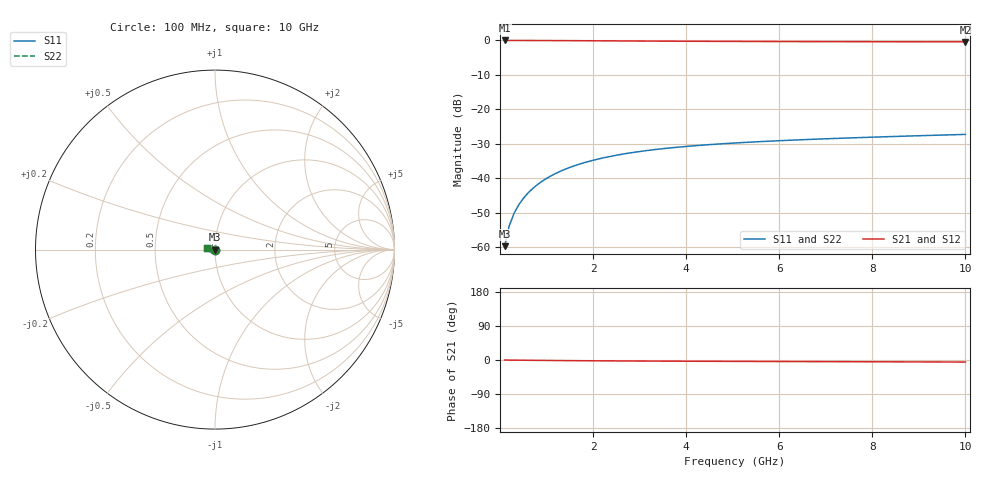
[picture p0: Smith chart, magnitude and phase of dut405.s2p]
! Touchstone file exported from HFSS 2024.1.0
!  File:  C:/UserFiles/LocalFiles/RDL_TSV_Batchsim/temp_TSV1_405_1779691958.aedt
!  Generated:  03:00:02 PM May 25, 2026
!  Design:  TSV1
!  Project:  temp_TSV1_405_1779691958
!  Setup:  Setup1
!  Solution:  Sweep
! Variables:
!  dtsv = 8.49um
!  hbump = 3um
!  htsv = 83.5um
!  lrdl = 252.1521522um
!  p = 40
!  p1 = 51.18um
!  t = 500um
!  trdl = 3um
!  wrdl = 24.89489489um
# GHz S MA R 50.000000
! Terminal data exported
! Port[1] = TSV22_T1
! Port[2] = TSV22_T2
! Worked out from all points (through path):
!   100 points, 100 MHz to 10 GHz, reference 50 ohm
!   highest |S21| = 0.00 dB at 100 MHz (marker M1); lowest = -0.4 dB at 10 GHz (marker M2)
!   lowest |S11| = -59.6 dB at 100 MHz (marker M3), VSWR 1.00, Z = 50 - j0.103 ohm
!   |S11| at or under -10 dB: start of sweep to end of sweep
!   |S22| runs from -59.6 to -27.2 dB; largest |S21 - S12| = 1.4e-14
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0.1  0.001043 -80.5  0.9998 -0.1  0.9998 -0.1  0.001043 -80.5
! Gamma 0 0 0 0
! Port Impedance 50 0 50 0
0.2  0.002062 -87.9  0.9996 -0.2  0.9996 -0.2  0.002062 -87.9
0.3  0.003086 -91.7  0.9994 -0.4  0.9994 -0.4  0.003086 -91.7
0.4  0.004107 -94.6  0.9992 -0.5  0.9992 -0.5  0.004107 -94.6
0.5  0.00512 -97.1  0.9989 -0.6  0.9989 -0.6  0.00512 -97.1
0.6  0.006122 -99.4  0.9985 -0.7  0.9985 -0.7  0.006122 -99.4
0.7  0.007113 -101.6  0.9981 -0.8  0.9981 -0.8  0.007113 -101.6
0.8  0.00809 -103.7  0.9976 -0.9  0.9976 -0.9  0.00809 -103.7
0.9  0.009051 -105.7  0.997 -1.0  0.997 -1.0  0.009051 -105.7
1.1  0.01092 -109.6  0.9958 -1.3  0.9958 -1.3  0.01092 -109.6
1.4  0.01358 -115.2  0.9937 -1.6  0.9937 -1.6  0.01358 -115.2
1.6  0.01525 -118.7  0.9921 -1.7  0.9921 -1.7  0.01525 -118.7
1.8  0.01684 -122.1  0.9905 -1.9  0.9905 -1.9  0.01684 -122.1
2.1  0.01905 -126.9  0.988 -2.2  0.988 -2.2  0.01905 -126.9
2.5  0.02169 -133.0  0.9846 -2.4  0.9846 -2.4  0.02169 -133.0
2.9  0.02401 -138.6  0.9814 -2.7  0.9814 -2.7  0.02401 -138.6
3.4  0.02653 -144.9  0.9776 -2.9  0.9776 -2.9  0.02653 -144.9
4.2  0.02983 -153.9  0.9724 -3.3  0.9724 -3.3  0.02983 -153.9
5.1  0.03278 -162.6  0.9677 -3.7  0.9677 -3.7  0.03278 -162.6
6.7  0.03687 -175.3  0.9617 -4.2  0.9617 -4.2  0.03687 -175.3
8.4  0.04042 173.9  0.9575 -4.8  0.9575 -4.8  0.04042 173.9
10  0.04347 165.4  0.9547 -5.4  0.9547 -5.4  0.04347 165.4
